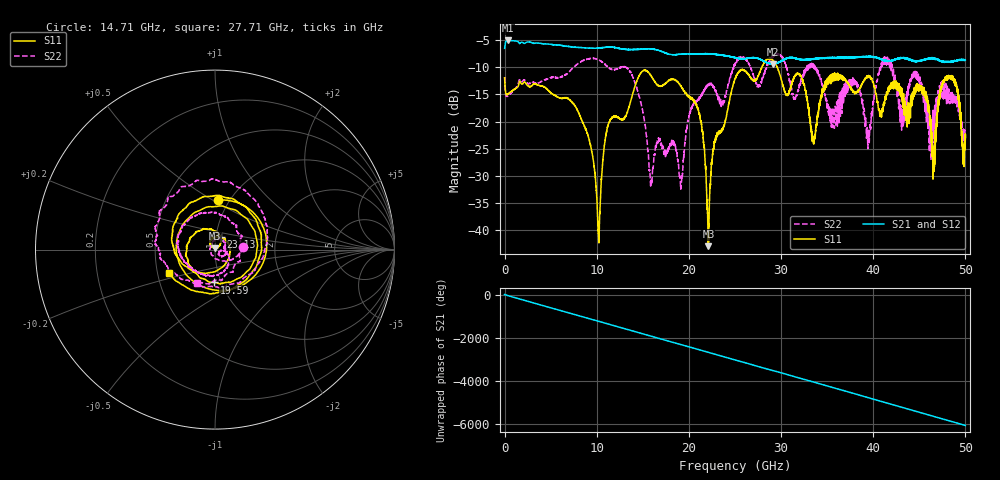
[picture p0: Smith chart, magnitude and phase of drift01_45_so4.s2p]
!Created with skrf (http://scikit-rf.org).
# Hz S RI R 50.0
!freq ReS11 ImS11 ReS21 ImS21 ReS12 ImS12 ReS22 ImS22
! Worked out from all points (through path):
!   10001 points, 300 kHz to 50 GHz, reference 50 ohm
!   highest |S21| = -5.05 dB at 325.3 MHz (marker M1); lowest = -9.4 dB at 29.08 GHz (marker M2)
!   group delay of S21, straight-line fit = 336 ps
!   lowest |S11| = -42.9 dB at 22.12 GHz (marker M3), VSWR 1.01, Z = 49.8 + j0.687 ohm
!   |S11| at or under -10 dB: start of sweep to 27.92 GHz; 29.59 GHz to end of sweep
!   |S22| runs from -32.4 to -7.5 dB; largest |S21 - S12| = 0.012
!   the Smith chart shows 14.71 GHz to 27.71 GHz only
!   S11 on the Smith chart (normalised r, x): 14.71 GHz: 0.89, +0.53; 19.59 GHz: 0.92, -0.35; 23.13 GHz: 1.05, +0.15; 27.71 GHz: 0.58, -0.17
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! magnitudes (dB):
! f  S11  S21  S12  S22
! 300 kHz  -11.9  -6.5  -6.5  -11.8
! 325.3 MHz  -15.0  -5.1  -5.1  -15.3
! 8.335 GHz  -19.6  -6.4  -6.4  -8.9
! 10.21 GHz  -41.6  -6.4  -6.4  -8.6
! 11.23 GHz  -20.7  -6.3  -6.3  -10.0
! 14.71 GHz  -11.2  -6.7  -6.7  -16.0
! 15.88 GHz  -11.5  -6.6  -6.6  -31.1
! 16.67 GHz  -13.4  -6.9  -6.9  -23.2
! 19.59 GHz  -14.8  -7.5  -7.5  -23.7
! 21.2 GHz  -19.0  -7.5  -7.5  -15.6
! 22.12 GHz  -42.9  -7.5  -7.5  -13.2
! 23.13 GHz  -22.1  -7.7  -7.6  -15.4
! 25 GHz  -12.1  -8.2  -8.3  -9.4
! 27.71 GHz  -10.9  -8.5  -8.5  -13.5
! 29.08 GHz  -8.6  -9.4  -9.4  -7.9
! 33.34 GHz  -22.4  -8.5  -8.5  -9.6
! 39.48 GHz  -11.6  -8.0  -8.0  -21.7
! 41.67 GHz  -14.0  -8.8  -8.8  -8.8
! 45.36 GHz  -13.6  -8.7  -8.7  -14.5
! 46.55 GHz  -26.8  -8.4  -8.4  -19.4
! 48.52 GHz  -11.5  -9.0  -9.0  -14.9
! 50 GHz  -23.3  -8.7  -8.7  -23.3
